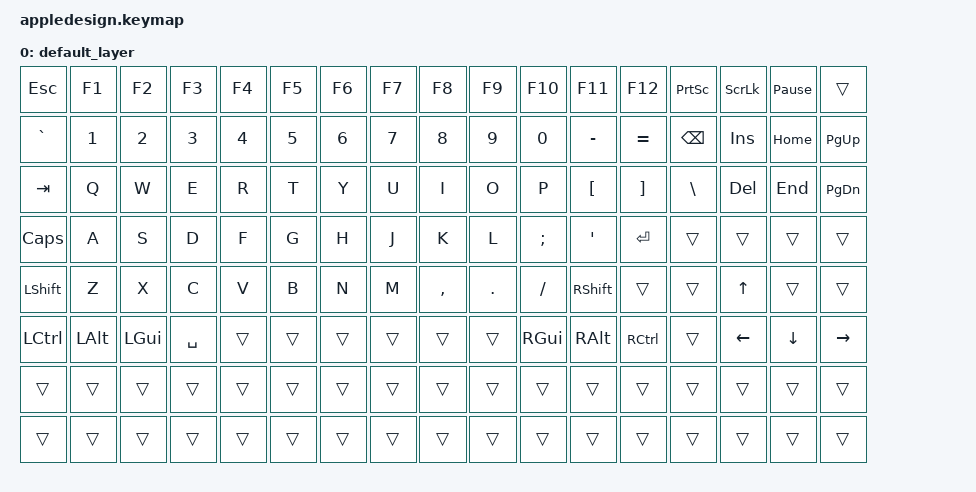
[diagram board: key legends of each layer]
#include <behaviors.dtsi>
#include <dt-bindings/zmk/keys.h>

/ {
    keymap {
        compatible = "zmk,keymap";

        default_layer {
            bindings = <
                &kp ESC   &kp F1    &kp F2    &kp F3    &kp F4    &kp F5    &kp F6    &kp F7    &kp F8    &kp F9    &kp F10   &kp F11   &kp F12   &kp PSCRN &kp SLCK  &kp PAUSE_BREAK &trans
                &kp GRAVE &kp N1    &kp N2    &kp N3    &kp N4    &kp N5    &kp N6    &kp N7    &kp N8    &kp N9    &kp N0    &kp MINUS &kp EQUAL &kp BSPC  &kp INS   &kp HOME  &kp PG_UP
                &kp TAB   &kp Q     &kp W     &kp E     &kp R     &kp T     &kp Y     &kp U     &kp I     &kp O     &kp P     &kp LBKT  &kp RBKT  &kp BSLH  &kp DEL   &kp END   &kp PG_DN
                &kp CAPS  &kp A     &kp S     &kp D     &kp F     &kp G     &kp H     &kp J     &kp K     &kp L     &kp SEMI  &kp SQT   &kp RET   &trans    &trans    &trans    &trans
                &kp LSHFT &kp Z     &kp X     &kp C     &kp V     &kp B     &kp N     &kp M     &kp COMMA &kp DOT   &kp FSLH  &kp RSHFT &trans    &trans    &kp UP    &trans    &trans
                &kp LCTRL &kp LALT  &kp LGUI  &kp SPACE &trans    &trans    &trans    &trans    &trans    &trans    &kp RGUI  &kp RALT  &kp RCTRL &trans    &kp LEFT  &kp DOWN  &kp RIGHT
                &trans    &trans    &trans    &trans    &trans    &trans    &trans    &trans    &trans    &trans    &trans    &trans    &trans    &trans    &trans    &trans    &trans
                &trans    &trans    &trans    &trans    &trans    &trans    &trans    &trans    &trans    &trans    &trans    &trans    &trans    &trans    &trans    &trans    &trans
            >;
        };
    };
};
